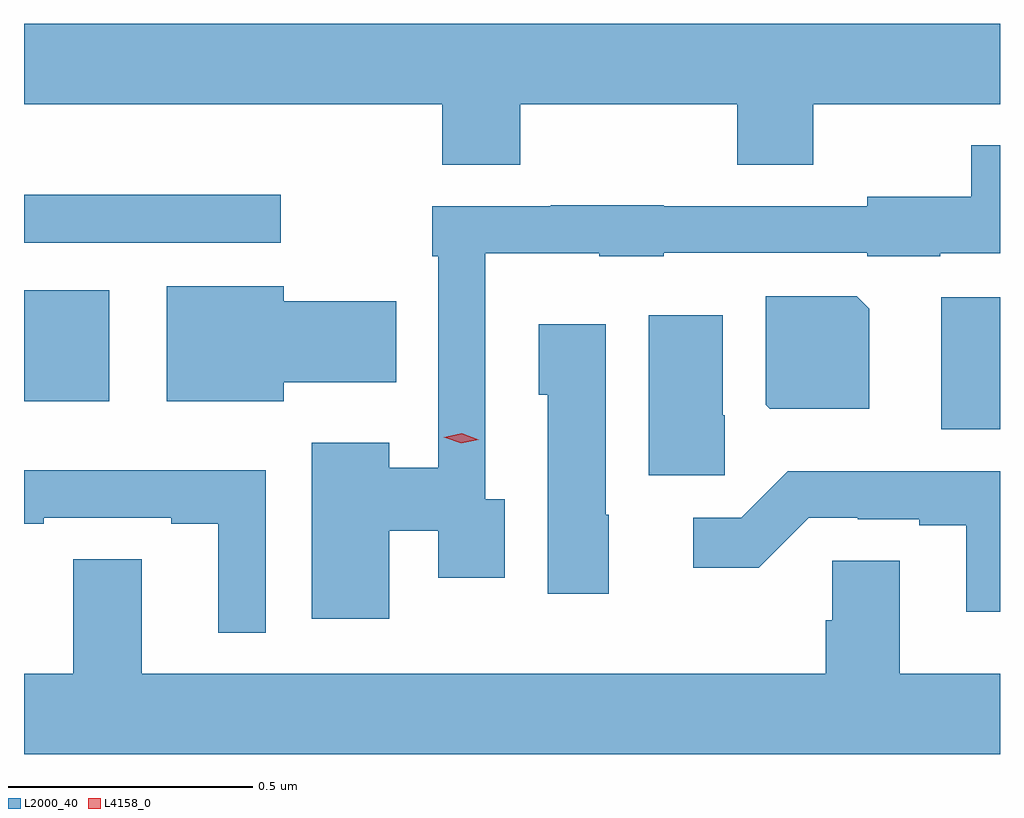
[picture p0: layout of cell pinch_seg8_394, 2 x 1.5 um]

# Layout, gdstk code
import gdstk
lib = gdstk.Library(unit=1e-6, precision=1e-09)
def R(c, l, rs):  # rectangles x0, y0, x1, y1
    for r in rs: c.add(gdstk.rectangle(r[:2], r[2:], *l))
def P(c, l, *ps):  # polygons
    for p in ps: c.add(gdstk.Polygon(p, *l))
L2000_40 = (2000, 40)
L4158_0 = (4158, 0)

pinch_seg8_394 = lib.new_cell('pinch_seg8_394')
R(pinch_seg8_394, L2000_40, [(395.048,1093.19,395.168,1093.46), (393.168,1093.247,393.343,1093.474), (393.168,1093.572,393.694,1093.67)])
P(pinch_seg8_394, L2000_40, [(394.185,1093.856),(394.63,1093.856),(394.63,1093.732),(394.785,1093.732),(394.785,1093.856),(395.168,1093.856),(395.168,1094.02),(393.168,1094.02),(393.168,1093.856),(394.025,1093.856),(394.025,1093.732),(394.185,1093.732)],
  [(393.916,1092.982),(394.017,1092.982),(394.017,1092.885),(394.153,1092.885),(394.153,1093.046),(394.113,1093.046),(394.113,1093.55),(394.347,1093.55),(394.347,1093.544),(394.479,1093.544),(394.479,1093.551),(394.896,1093.551),(394.896,1093.544),(395.046,1093.544),(395.046,1093.55),(395.168,1093.55),(395.168,1093.771),(395.109,1093.771),(395.109,1093.666),(394.896,1093.666),(394.896,1093.647),(394.479,1093.647),(394.479,1093.649),(394.247,1093.649),(394.247,1093.647),(394.005,1093.647),(394.005,1093.544),(394.017,1093.544),(394.017,1093.111),(393.916,1093.111),(393.916,1093.162),(393.758,1093.162),(393.758,1092.801),(393.916,1092.801)],
  [(393.7,1093.286),(393.931,1093.286),(393.931,1093.452),(393.7,1093.452),(393.7,1093.483),(393.461,1093.483),(393.461,1093.247),(393.7,1093.247)],
  [(394.9,1093.436),(394.874,1093.462),(394.688,1093.462),(394.688,1093.24),(394.696,1093.232),(394.9,1093.232)],
  [(394.604,1093.218),(394.6,1093.218),(394.6,1093.423),(394.448,1093.423),(394.448,1093.095),(394.604,1093.095)],
  [(394.366,1093.014),(394.36,1093.014),(394.36,1093.405),(394.223,1093.405),(394.223,1093.26),(394.241,1093.26),(394.241,1092.852),(394.366,1092.852)],
  [(393.663,1093.105),(393.168,1093.105),(393.168,1092.996),(393.208,1092.996),(393.208,1093.008),(393.47,1093.008),(393.47,1092.996),(393.566,1092.996),(393.566,1092.773),(393.663,1092.773)],
  [(395.168,1093.103),(394.733,1093.103),(394.638,1093.008),(394.539,1093.008),(394.539,1092.906),(394.674,1092.906),(394.776,1093.008),(394.876,1093.008),(394.876,1093.005),(395.003,1093.005),(395.003,1092.993),(395.099,1092.993),(395.099,1092.816),(395.168,1092.816)],
  [(395.168,1092.688),(394.963,1092.688),(394.963,1092.92),(394.824,1092.92),(394.824,1092.798),(394.811,1092.798),(394.811,1092.688),(393.409,1092.688),(393.409,1092.923),(393.269,1092.923),(393.269,1092.688),(393.168,1092.688),(393.168,1092.524),(395.168,1092.524)])
P(pinch_seg8_394, L4158_0, [(394.064,1093.161),(394.028,1093.173),(394.028,1093.173),(394.028,1093.173),(394.065,1093.181),(394.1,1093.168),(394.1,1093.168),(394.1,1093.168)])

lib.write_gds('pinch_seg8_394.gds')
